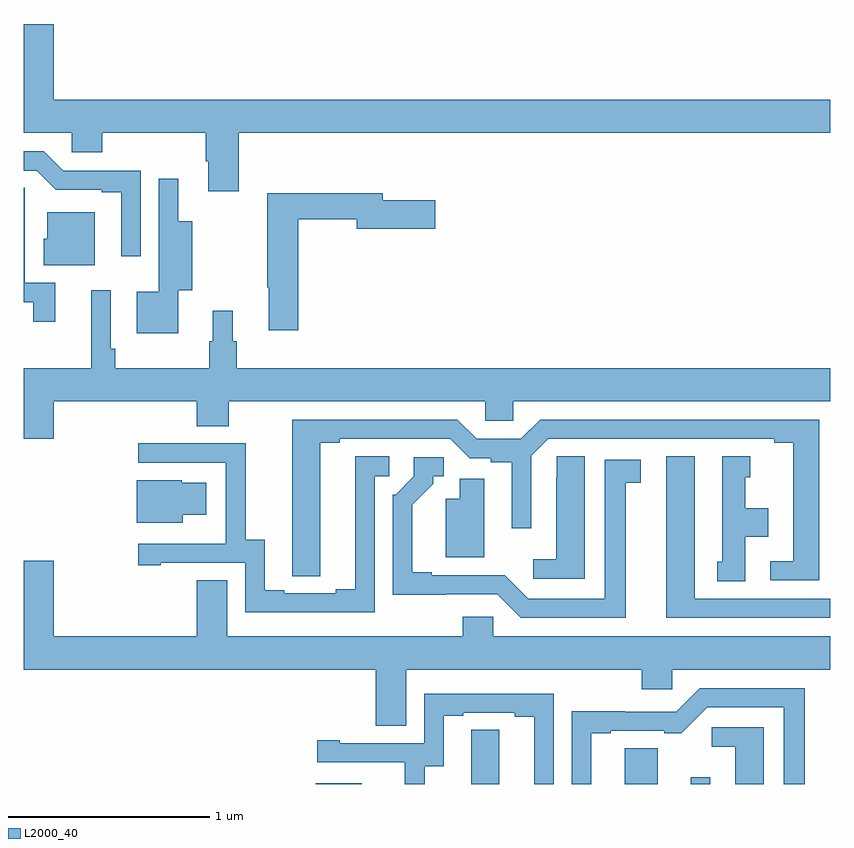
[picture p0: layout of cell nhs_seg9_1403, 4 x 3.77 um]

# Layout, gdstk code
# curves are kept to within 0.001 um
import gdstk
lib = gdstk.Library(unit=1e-6, precision=1e-09)
def R(c, l, rs):  # rectangles x0, y0, x1, y1
    for r in rs: c.add(gdstk.rectangle(r[:2], r[2:], *l))
def P(c, l, *ps):  # polygons
    for p in ps: c.add(gdstk.Polygon(p, *l))
L2000_40 = (2000, 40)

nhs_seg9_1403 = lib.new_cell('nhs_seg9_1403')
R(nhs_seg9_1403, L2000_40, [(190.448,1214.5,190.675,1214.503), (192.308,1214.5,192.405,1214.533)])
P(nhs_seg9_1403, L2000_40, [(190.067,1217.732),(193,1217.732),(193,1217.896),(189.148,1217.896),(189.148,1218.271),(189,1218.271),(189,1217.732),(189.237,1217.732),(189.237,1217.634),(189.389,1217.634),(189.389,1217.732),(189.902,1217.732),(189.902,1217.59),(189.914,1217.59),(189.914,1217.442),(190.067,1217.442)],
  [(189.579,1217.544),(189.195,1217.544),(189.099,1217.64),(189,1217.64),(189,1217.544),(189.063,1217.544),(189.159,1217.448),(189.386,1217.448),(189.386,1217.436),(189.482,1217.436),(189.482,1217.118),(189.579,1217.118)],
  [(189.766,1216.949),(189.834,1216.949),(189.834,1217.293),(189.766,1217.293),(189.766,1217.503),(189.669,1217.503),(189.669,1217.189),(189.668,1217.189),(189.668,1216.942),(189.56,1216.942),(189.56,1216.736),(189.766,1216.736)],
  [(189.155,1216.986),(189.004,1216.986),(189.004,1217.348),(189.003,1217.348),(189.003,1217.459),(189,1217.459),(189,1216.89),(189.046,1216.89),(189.046,1216.794),(189.155,1216.794)],
  [(190.361,1217.302),(190.652,1217.302),(190.652,1217.255),(191.041,1217.255),(191.041,1217.397),(190.78,1217.397),(190.78,1217.431),(190.207,1217.431),(190.207,1216.964),(190.214,1216.964),(190.214,1216.752),(190.361,1216.752)],
  [(189.352,1217.338),(189.116,1217.338),(189.116,1217.205),(189.098,1217.205),(189.098,1217.075),(189.352,1217.075)],
  [(189.148,1216.4),(189.857,1216.4),(189.857,1216.276),(190.017,1216.276),(190.017,1216.4),(191.289,1216.4),(191.289,1216.302),(191.427,1216.302),(191.427,1216.4),(193,1216.4),(193,1216.564),(190.055,1216.564),(190.055,1216.698),(190.036,1216.698),(190.036,1216.849),(189.938,1216.849),(189.938,1216.698),(189.919,1216.698),(189.919,1216.564),(189.452,1216.564),(189.452,1216.66),(189.432,1216.66),(189.432,1216.951),(189.335,1216.951),(189.335,1216.564),(189,1216.564),(189,1216.212),(189.148,1216.212)],
  [(192.946,1216.308),(191.561,1216.308),(191.465,1216.212),(191.247,1216.212),(191.151,1216.308),(190.331,1216.308),(190.332,1215.532),(190.471,1215.532),(190.471,1216.192),(190.567,1216.192),(190.567,1216.212),(191.115,1216.212),(191.211,1216.116),(191.316,1216.116),(191.316,1216.096),(191.42,1216.096),(191.42,1215.768),(191.517,1215.768),(191.517,1216.128),(191.601,1216.212),(192.722,1216.212),(192.722,1216.192),(192.818,1216.192),(192.818,1215.606),(192.702,1215.606),(192.702,1215.51),(192.946,1215.51)],
  [(190.74,1216.026),(190.813,1216.026),(190.813,1216.127),(190.643,1216.127),(190.643,1215.467),(190.547,1215.467),(190.547,1215.447),(190.291,1215.447),(190.291,1215.462),(190.195,1215.462),(190.195,1215.713),(190.101,1215.713),(190.101,1216.191),(189.567,1216.191),(189.567,1216.095),(190.002,1216.095),(190.002,1215.694),(190.001,1215.694),(190.001,1215.693),(189.567,1215.693),(189.567,1215.585),(189.679,1215.585),(189.679,1215.597),(190.098,1215.597),(190.098,1215.351),(190.74,1215.351)],
  [(191.782,1216.127),(191.643,1216.127),(191.643,1216.019),(191.642,1216.019),(191.642,1215.616),(191.526,1215.616),(191.526,1215.519),(191.782,1215.519)],
  [(192.58,1215.728),(192.694,1215.728),(192.694,1215.868),(192.58,1215.868),(192.58,1216.023),(192.604,1216.023),(192.604,1216.126),(192.464,1216.126),(192.464,1215.603),(192.44,1215.603),(192.44,1215.505),(192.58,1215.505)],
  [(193,1215.42),(192.328,1215.42),(192.328,1216.126),(192.188,1216.126),(192.188,1215.324),(193,1215.324)],
  [(191.986,1215.994),(192.061,1215.994),(192.061,1216.11),(191.882,1216.11),(191.882,1215.42),(191.502,1215.42),(191.385,1215.537),(191.023,1215.537),(191.023,1215.55),(190.927,1215.55),(190.927,1215.886),(191.032,1215.991),(191.032,1216.026),(191.082,1216.026),(191.082,1216.122),(190.935,1216.122),(190.935,1216.026),(190.845,1215.936),(190.83,1215.936),(190.83,1215.44),(191.349,1215.441),(191.466,1215.324),(191.986,1215.324)],
  [(191.284,1216.014),(191.162,1216.014),(191.162,1215.916),(191.093,1215.916),(191.093,1215.626),(191.284,1215.626)],
  [(189.787,1215.836),(189.904,1215.836),(189.904,1215.994),(189.783,1215.994),(189.783,1216.006),(189.56,1216.006),(189.56,1215.797),(189.787,1215.797)],
  [(190.897,1215.068),(192.065,1215.068),(192.065,1214.97),(192.216,1214.97),(192.216,1215.068),(193,1215.068),(193,1215.232),(191.328,1215.232),(191.328,1215.33),(191.177,1215.33),(191.177,1215.232),(190.009,1215.232),(190.009,1215.512),(189.857,1215.512),(189.857,1215.232),(189.148,1215.232),(189.148,1215.607),(189,1215.607),(189,1215.068),(190.745,1215.068),(190.745,1214.788),(190.897,1214.788)],
  [(191.815,1214.751),(191.911,1214.751),(191.911,1214.763),(192.176,1214.763),(192.176,1214.752),(192.262,1214.752),(192.39,1214.88),(192.77,1214.88),(192.77,1214.5),(192.874,1214.5),(192.874,1214.976),(192.354,1214.976),(192.237,1214.859),(191.981,1214.859),(191.981,1214.861),(191.718,1214.861),(191.718,1214.5),(191.815,1214.5)],
  [(190.989,1214.587),(191.083,1214.587),(191.083,1214.838),(191.179,1214.838),(191.179,1214.853),(191.435,1214.853),(191.435,1214.833),(191.531,1214.833),(191.531,1214.5),(191.628,1214.5),(191.628,1214.949),(190.986,1214.949),(190.986,1214.703),(190.567,1214.703),(190.567,1214.716),(190.455,1214.716),(190.455,1214.607),(190.889,1214.607),(190.889,1214.606),(190.89,1214.606),(190.89,1214.5),(190.989,1214.5)],
  [(192.67,1214.781),(192.414,1214.781),(192.414,1214.684),(192.53,1214.684),(192.53,1214.5),(192.67,1214.5)],
  [(191.359,1214.768),(191.22,1214.768),(191.22,1214.66),(191.219,1214.66),(191.219,1214.5),(191.359,1214.5)],
  [(192.145,1214.52),(192.144,1214.52),(192.144,1214.678),(191.981,1214.678),(191.981,1214.5),(192.145,1214.5)])

lib.write_gds('nhs_seg9_1403.gds')
